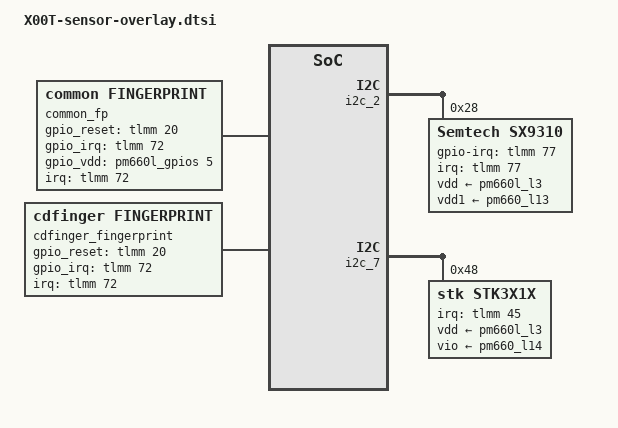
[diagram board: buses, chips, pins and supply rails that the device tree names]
/* SPDX-License-Identifier: GPL-2.0 */

&soc {
	common_fp {
		compatible = "common,fingerprint";
		interrupt-parent = <&tlmm>;
		interrupts = <72 0x0>;

		common,gpio_reset   = <&tlmm 20 0>;
		common,gpio_irq		= <&tlmm 72 0>;
		common,gpio_vdd		= <&pm660l_gpios 5 0>;
		pinctrl-names		=	"commonfp_reset_reset",
						"commonfp_reset_active",
						"commonfp_irq_active";
		pinctrl-0 = <&commonfp_reset_reset>;
		pinctrl-1 = <&commonfp_reset_active>;
		pinctrl-2 = <&commonfp_irq_active>;
	};

	cdfinger_fingerprint {
		compatible = "cdfinger,fingerprint";
		interrupt-parent = <&tlmm>;
		interrupts = <72 0x0>;
		cdfinger,gpio_reset = <&tlmm 20 0>;
		cdfinger,gpio_irq = <&tlmm 72 0>;
	};

	goodix_fingerprint {
		compatible = "goodix,fingerprint";
	};
};

&i2c_2 {
	status = "okay";
	semtech@28 {
		compatible = "Semtech,sx9310";
		reg = <0x28>;
		vdd-supply  =<&pm660l_l3>;
		vdd1-supply =<&pm660_l13>;  // for svdd
		interrupt-parent = <&tlmm>;
		Semtech,gpio-irq= <&tlmm 77 0x2008>; // gpio 77
		interrupts = <77 0x2>;
		pinctrl-names = "sarsensor_active", "sarsensor_suspend";
		pinctrl-0 = <&sarsensor_int_active>;
		pinctrl-1 = <&sarsensor_int_suspend>;
	};
};

&i2c_7 {
	status = "okay";
	stk@48 {
		compatible = "stk,stk3x1x";
		reg = <0x48>;
		interrupt-parent = <&tlmm>;
		interrupts = <45 0x2>;
		vdd-supply = <&pm660l_l3>;
		vio-supply = <&pm660_l14>;
		stk,irq-gpio = <&tlmm 45 0x02>;
		pinctrl-names = "psensor_active", "psensor_suspend";
		pinctrl-0 = <&psensor_int_active>;
		pinctrl-1 = <&psensor_int_suspend>;
		stk,state-reg = <0x0>;
		stk,psctrl-reg = <0x31>;
		stk,alsctrl-reg = <0x39>;
		stk,ledctrl-reg = <0xFF>;
		stk,wait-reg = <0x0A>;
		stk,ps-thdh = <120>;
		stk,ps-thdl = <90>;
		stk,transmittance = <1100>;
	};
};

&blsp2_uart2_active {
	mux {
		pins = "gpio24", "gpio25";
	};

	config {
		pins = "gpio24", "gpio25";
	};
};

&blsp2_uart2_sleep {
	mux {
		pins = "gpio24", "gpio25";
	};

	config {
		pins = "gpio24", "gpio25";
	};
};

&tlmm {
	ts_mux {
		commonfp_reset_reset: commonfp_reset_reset {
			mux {
				pins = "gpio20";
				function = "gpio";
			};
			config {
				pins = "gpio20";
				drive-strength = <2>;
				bias-disable = <0>;
				output-low;
			};
		};

		commonfp_reset_active: commonfp_reset_active {
			mux {
				pins = "gpio20";
				function = "gpio";
			};
			config {
				pins = "gpio20";
				drive-strength = <2>;
				bias-disable = <0>;
				output-high;
			};
		};

		commonfp_irq_active: commonfp_irq_active {
			mux {
				pins = "gpio72";
				function = "gpio";
			};
			config {
				pins = "gpio72";
				drive-strength = <2>;
				bias-disable = <0>;
				input-enable;
			};
		};

		psensor_irq {
			psensor_int_active: psensor_int_active {
				mux {
					pins = "gpio45";
					function = "gpio";
				};

				config {
					pins = "gpio45";
					drive-strength = <2>;
					bias-pull-up;
					input-enable;
				};
			};

			psensor_int_suspend: psensor_int_suspend {
				mux {
					pins = "gpio45";
					function = "gpio";
				};

				config {
					pins = "gpio45";
					drive-strength = <2>;
					bias-pull-up;
					input-enable;
				};
			};
		};

		sarsensor_irq {
				sarsensor_int_active: sarsensor_int_active {
					mux {
						pins = "gpio77";
						function = "gpio";
					};

					config {
						pins = "gpio77";
						drive-strength = <2>;
						bias-pull-up;
						input-enable;
					};
				};

				sarsensor_int_suspend: sarsensor_int_suspend {
					mux {
						pins = "gpio77";
						function = "gpio";
					};

					config {
						pins = "gpio77";
						drive-strength = <2>;
						bias-pull-up;
						input-enable;
					};
				};
		};		

	};
};

